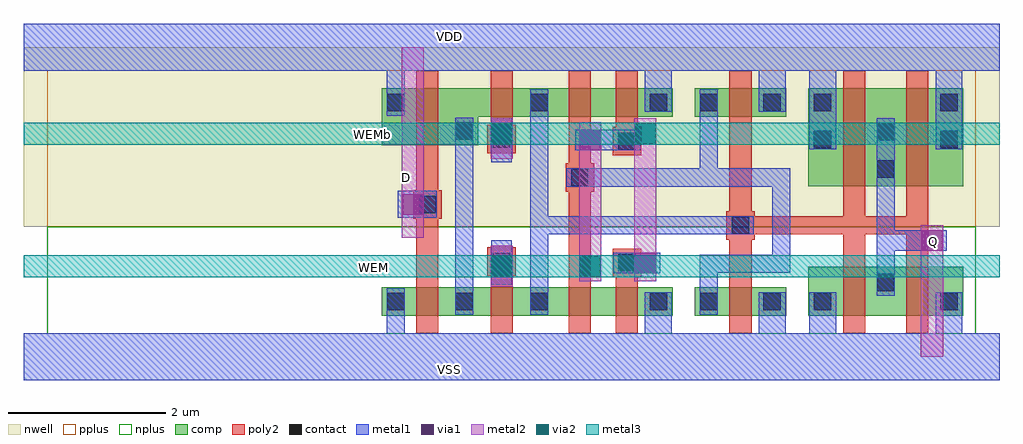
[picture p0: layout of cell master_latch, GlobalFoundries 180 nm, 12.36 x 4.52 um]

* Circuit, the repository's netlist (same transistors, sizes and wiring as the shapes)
** sch_path: /foss/designs/engn1600-team1/CAD3/master_latch.sch
.subckt master_latch VDD VSS Q WEM WEMb D
*.PININFO D:I WEMb:I WEM:I VSS:B VDD:B Q:O
M3 net1 WEMb net2 VDD pfet_03v3 L=0.28u W=0.36u nf=1 m=1
M7 net1 D VDD VDD pfet_03v3 L=0.28u W=0.72u nf=1 m=1
M8 Q net2 VDD VDD pfet_03v3 L=0.28u W=2.48u nf=1 m=1
M9 net3 net2 VDD VDD pfet_03v3 L=0.28u W=0.36u nf=1 m=1
M10 VDD WEM net5 VDD pfet_03v3 L=0.28u W=0.36u nf=1 m=1
M12 net5 net3 net2 VDD pfet_03v3 L=0.28u W=0.36u nf=1 m=1
M19 net1 D VSS VSS nfet_03v3 L=0.28u W=0.36u nf=1 m=1
M20 net1 WEM net2 VSS nfet_03v3 L=0.28u W=0.36u nf=1 m=1
M21 Q net2 VSS VSS nfet_03v3 L=0.28u W=1.24u nf=1 m=1
M22 net3 net2 VSS VSS nfet_03v3 L=0.28u W=0.36u nf=1 m=1
M23 net4 net3 net2 VSS nfet_03v3 L=0.28u W=0.36u nf=1 m=1
M24 VSS WEMb net4 VSS nfet_03v3 L=0.28u W=0.36u nf=1 m=1
.ends

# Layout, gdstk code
import gdstk
lib = gdstk.Library(unit=1e-6, precision=5e-09)
def R(c, l, rs):  # rectangles x0, y0, x1, y1
    for r in rs: c.add(gdstk.rectangle(r[:2], r[2:], *l))
nwell = (21, 0)
comp = (22, 0)
poly2 = (30, 0)
pplus = (31, 0)
nplus = (32, 0)
contact = (33, 0)
metal1 = (34, 0)
via1 = (35, 0)
metal2 = (36, 0)
via2 = (38, 0)
metal3 = (42, 0)

master_latch = lib.new_cell('master_latch')
R(master_latch, nwell, [(-10.78,3.27,1.58,5.545)])
R(master_latch, comp, [(-6.245,2.145,-2.56,2.505), (-2.28,2.145,-1.12,2.505), (-0.84,2.145,1.12,2.765), (-0.84,3.785,1.12,5.025), (-6.245,4.305,-5.02,5.025), (-5.02,4.665,-2.56,5.025), (-2.28,4.665,-1.12,5.025)])
R(master_latch, poly2, [(-0.4,1.92,-0.12,5.245), (-5.805,1.925,-5.525,5.245), (-4.865,1.925,-4.585,3.01), (-3.875,1.925,-3.595,5.245), (-3.28,1.925,-3,2.965), (-1.84,1.925,-1.56,5.245), (0.4,1.925,0.68,5.245), (-3.32,2.635,-2.96,2.995), (-4.905,2.65,-4.545,3.01), (-1.88,3.11,-1.52,3.47), (-1.56,3.175,-0.4,3.405), (-0.12,3.175,0.4,3.405), (-5.845,3.375,-5.485,3.735), (-3.915,3.715,-3.555,4.075), (-3.32,4.175,-2.96,4.535), (-4.905,4.205,-4.545,4.565), (-4.865,4.22,-4.585,5.245), (-3.28,4.235,-3,5.245)])
R(master_latch, pplus, [(-10.48,3.27,1.28,5.255)])
R(master_latch, nplus, [(-10.48,1.915,1.28,3.27)])
R(master_latch, contact, [(-6.175,2.215,-5.955,2.435), (-5.31,2.215,-5.09,2.435), (-4.36,2.215,-4.14,2.435), (-2.85,2.215,-2.63,2.435), (-2.21,2.215,-1.99,2.435), (-1.41,2.215,-1.19,2.435), (-0.77,2.215,-0.55,2.435), (0.83,2.215,1.05,2.435), (0.03,2.455,0.25,2.675), (-3.25,2.705,-3.03,2.925), (-4.835,2.72,-4.615,2.94), (-1.81,3.18,-1.59,3.4), (-5.775,3.445,-5.555,3.665), (-3.845,3.785,-3.625,4.005), (0.03,3.895,0.25,4.115), (-3.25,4.245,-3.03,4.465), (-0.77,4.265,-0.55,4.485), (0.83,4.265,1.05,4.485), (-4.835,4.275,-4.615,4.495), (0.03,4.365,0.25,4.585), (-5.31,4.375,-5.09,4.595), (-6.175,4.735,-5.955,4.955), (-4.36,4.735,-4.14,4.955), (-2.85,4.735,-2.63,4.955), (-2.21,4.735,-1.99,4.955), (-1.41,4.735,-1.19,4.955), (-0.77,4.735,-0.55,4.955), (0.83,4.735,1.05,4.955)])
R(master_latch, metal1, [(-10.78,1.325,1.58,1.925), (-6.18,1.925,-5.95,2.495), (-2.91,1.925,-2.57,2.44), (-1.47,1.925,-1.13,2.44), (-0.83,1.925,-0.49,2.44), (0.77,1.925,1.11,2.44), (-5.315,2.155,-5.085,4.655), (-4.365,2.155,-4.135,5.015), (-2.215,2.155,-1.985,2.69), (0.025,2.395,0.255,4.645), (-4.855,2.54,-4.595,3.1), (-3.31,2.685,-2.715,2.945), (-2.215,2.69,-1.07,2.92), (-1.3,2.92,-1.07,3.78), (0.255,2.97,0.915,3.23), (-4.135,3.175,-1.53,3.405), (-6.04,3.385,-5.545,3.725), (-3.905,3.78,-1.07,4.01), (-2.215,4.01,-1.985,5.015), (-4.855,4.09,-4.595,4.65), (-3.795,4.24,-2.97,4.5), (-0.83,4.255,-0.49,5.245), (0.77,4.255,1.11,5.245), (-6.18,4.675,-5.95,5.245), (-2.91,4.73,-2.57,5.245), (-1.47,4.73,-1.13,5.245), (-10.78,5.245,1.58,5.845)])
R(master_latch, via1, [(-4.855,2.64,-4.595,2.9), (-3.035,2.685,-2.775,2.945), (0.595,2.97,0.855,3.23), (-5.98,3.425,-5.72,3.685), (-3.735,4.24,-3.475,4.5), (-4.855,4.32,-4.595,4.58)])
R(master_latch, metal2, [(0.585,1.625,0.865,3.29), (-4.865,2.51,-4.585,3.03), (-3.745,2.58,-3.465,4.595), (-3.045,2.58,-2.765,4.645), (-5.99,3.13,-5.71,5.545), (-4.865,4.13,-4.585,4.65)])
R(master_latch, via2, [(-4.855,2.64,-4.595,2.9), (-3.735,2.64,-3.475,2.9), (-4.855,4.32,-4.595,4.58), (-3.035,4.32,-2.775,4.58)])
R(master_latch, metal3, [(-10.78,2.63,1.58,2.91), (-10.78,4.31,1.58,4.59)])
master_latch.add(gdstk.Label('VDD', (-5.39,5.685), layer=34, texttype=10))
master_latch.add(gdstk.Label('VSS', (-5.39,1.47), layer=34, texttype=10))
master_latch.add(gdstk.Label('WEMb', (-6.355,4.44), layer=42, texttype=10))
master_latch.add(gdstk.Label('WEM', (-6.345,2.75), layer=42, texttype=10))
master_latch.add(gdstk.Label('Q', (0.745,3.085), layer=36, texttype=10))
master_latch.add(gdstk.Label('D', (-5.93,3.9), layer=36, texttype=10))

lib.write_gds('master_latch.gds')
